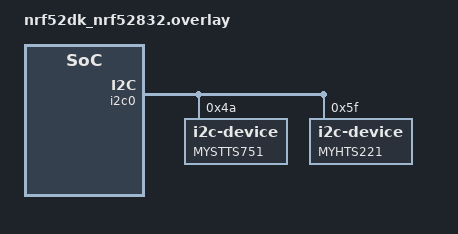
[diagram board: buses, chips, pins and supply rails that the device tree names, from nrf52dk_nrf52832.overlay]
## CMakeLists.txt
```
# SPDX-License-Identifier: Apache-2.0

cmake_minimum_required(VERSION 3.20.0)

find_package(Zephyr REQUIRED HINTS $ENV{ZEPHYR_BASE})
project(hello_world)

target_sources(app PRIVATE src/ble_service_test.c)
```

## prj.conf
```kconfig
CONFIG_SMF=y
CONFIG_EVENTS=y
CONFIG_LOG=y
CONFIG_FPU=y
CONFIG_BT=y
CONFIG_BT_PERIPHERAL=y
CONFIG_BT_DEVICE_NAME="EDGE_NODE"
CONFIG_I2C=y
CONFIG_SENSOR=y
CONFIG_MAIN_STACK_SIZE=8192
```

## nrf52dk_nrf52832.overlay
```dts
// To get started, press Ctrl+Space to bring up the completion menu and view the available nodes.

// You can also use the buttons in the sidebar to perform actions on nodes.
// Actions currently available include:

// * Enabling / disabling the node
// * Adding the bus to a bus
// * Removing the node
// * Connecting ADC channels

// For more help, browse the DeviceTree documentation at https://docs.zephyrproject.org/latest/guides/dts/index.html
// You can also visit the nRF DeviceTree extension documentation at https://nrfconnect.github.io/vscode-nrf-connect/devicetree/nrfdevicetree.html
&i2c0 {
    my_stts751: my_stts751@4a{
        compatible = "i2c-device";
        reg = < 0x4a >;
        label = "MYSTTS751";
    };
    my_hts221: my_hts221@5F{
        compatible = "i2c-device";
        reg = < 0x5F >;
        label = "MYHTS221";
    };
};
```

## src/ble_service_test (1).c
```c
#include <zephyr/kernel.h>
#include <zephyr/device.h>
#include <zephyr/drivers/gpio.h>
#include <zephyr/smf.h>
#include <zephyr/logging/log.h>

#include <zephyr/bluetooth/bluetooth.h>
#include <zephyr/bluetooth/gap.h>
#include <zephyr/bluetooth/gatt.h>
#include <zephyr/bluetooth/uuid.h>
#include <zephyr/bluetooth/addr.h>
#include <zephyr/bluetooth/conn.h>

LOG_MODULE_REGISTER(ble_test, LOG_LEVEL_DBG);

/* HTS221 sensor functions and definitions */
/* Replace with the appropriate HTS221 sensor library functions */

// Function to read temperature and humidity from HTS221
void read_sensor_data(float* temperature, float* humidity) {
    // Replace with HTS221 sensor reading implementation
}

// Function to send sensor data to the cloud
void send_data_to_cloud(float temperature, float humidity) {
    // Replace with cloud communication logic
}

/** BEGIN BLE ADVERTISING / SCAN DATA **/

#define BT_UUID_SST_SVC_BYTES  BT_UUID_128_ENCODE(0x00001523, 0x1212, 0xefde, 0x1523, 0x785fdeadbeef)
#define BT_UUID_SST_SVC  BT_UUID_DECLARE_128(BT_UUID_SST_SVC_BYTES)

static struct bt_le_adv_param* adv_param = BT_LE_ADV_PARAM(
    (BT_LE_ADV_OPT_CONNECTABLE|BT_LE_ADV_OPT_USE_IDENTITY), /* Connectable advertising and use identity address */
    800, /*Min Advertising Interval 500ms (800*0.625ms) */
    801, /*Max Advertising Interval 500.625ms (801*0.625ms)*/
    NULL); /* Set to NULL for undirected advertising*/

static const struct bt_data adv_data[] = {
    /* STEP 3.1 - Set the flags and populate the device name in the advertising packet */
    BT_DATA_BYTES(BT_DATA_FLAGS, (BT_LE_AD_GENERAL | BT_LE_AD_NO_BREDR)),
    BT_DATA(BT_DATA_NAME_COMPLETE, CONFIG_BT_DEVICE_NAME, (sizeof(CONFIG_BT_DEVICE_NAME) - 1)),
};

static const struct bt_data scan_data[] = {
    /* STEP 3.2.2 - Include the 16-bytes (128-Bits) UUID of our service in the scan response packet */
    BT_DATA_BYTES(BT_DATA_UUID128_ALL, BT_UUID_SST_SVC_BYTES),
};

/** END BLE ADVERTISING / SCAN DATA **/


/** BEGIN DEFINING BLE GATT SST (SENSOR STREAMING) SERVICE **/

#define BT_UUID_SST_MYSENSOR  BT_UUID_DECLARE_128(BT_UUID_128_ENCODE(0x00001526, 0x1212, 0xefde, 0x1523, 0x785fdeadbeef))

static bool notify_mysensor_enabled;
/// @brief Define the configuration change callback function for the MYSENSOR characteristic
static void sst_ccc_mysensor_cfg_changed(const struct bt_gatt_attr *attr, uint16_t value)
{
    notify_mysensor_enabled = (value == BT_GATT_CCC_NOTIFY);
}

BT_GATT_SERVICE_DEFINE(
    sst_service,
    BT_GATT_PRIMARY_SERVICE(BT_UUID_SST_SVC),
    BT_GATT_CHARACTERISTIC(
        BT_UUID_SST_MYSENSOR,
        BT_GATT_CHRC_NOTIFY,
        BT_GATT_PERM_NONE, 
        NULL, 
        NULL,
        NULL),
    BT_GATT_CCC(
        sst_ccc_mysensor_cfg_changed,
        BT_GATT_PERM_READ | BT_GATT_PERM_WRITE),
);

int my_sst_svc_gatt_notify(float temperature, float humidity)
{
    int err;
    if (!notify_mysensor_enabled) {
        return -EACCES;
    }
    struct {
        float temperature;
        float humidity;
    } sensor_data = {
        .temperature = temperature,
        .humidity = humidity
    };
    err = bt_gatt_notify(NULL, &sst_service.attrs[2], &sensor_data, sizeof(sensor_data));
    if (err < 0) {
        LOG_ERR("Warning: bt_gatt_notify failed with error: %d", err);
    }
    else {
        LOG_DBG("Sent sensor data: temperature=%f, humidity=%f", temperature, humidity);
    }
    return err;
}

/** END DEFINING BLE GATT SST (SENSOR STREAMING) SERVICE **/


/** BEGIN DEFINING BLE CONNECTION MANAGER */

struct bt_conn* our_conn = NULL;

void on_connected(struct bt_conn *conn, uint8_t err) {
    if (err) {
        LOG_ERR("Connection error %d", err);
        return;
    }
    LOG_INF("Connected");
    our_conn = bt_conn_ref(conn);
}

void on_disconnected(struct bt_conn *conn, uint8_t reason)
{
    LOG_INF("Disconnected. Reason %d", reason);
    bt_conn_unref(our_conn);
}

struct bt_conn_cb bt_conn_callbacks = {
    .connected = on_connected,
    .disconnected = on_disconnected,
};

/** END DEFINING BLE CONNECTION MANAGER **/


void main(void) {
    int err;
    float temperature, humidity;
    LOG_INF("Setting up our bluetooth...");

    bt_addr_le_t addr;
    err = bt_addr_le_from_str("FF:EE:DE:AD:BE:EF", "random", &addr);
    if (err) {
        LOG_ERR("Invalid BT address (err %d)\n", err);
        return;
    }

    err = bt_id_create(&addr, NULL);
    if (err < 0) {
        LOG_ERR("Creating new identity failed (err %d)\n", err);
        return;
    }

    bt_conn_cb_register(&bt_conn_callbacks);

    err = bt_enable(NULL);
    if (err < 0) {
        LOG_ERR("Bluetooth init failed (err %d)\n", err);
        return;
    }

    LOG_INF("Bluetooth enabled!");
    LOG_INF("Starting advertising...");

    err = bt_le_adv_start(
        adv_param, adv_data, ARRAY_SIZE(adv_data),
        scan_data, ARRAY_SIZE(scan_data));
    if (err < 0) {
        LOG_ERR("Bluetooth advertisement start failed (err %d)\n", err);
        return;
    }

    LOG_INF("Advertising started!");

    // Predefined values for temperature and humidity
    float predefined_temperature[] = {25.5, 26.0, 26.2, 25.8, 26.5, 25.7, 25.9, 26.3, 26.1, 25.6};
    float predefined_humidity[] = {45.8, 46.2, 47.1, 45.5, 46.8, 45.9, 46.4, 46.6, 47.3, 45.7};

    int num_values = sizeof(predefined_temperature) / sizeof(float);
    int i = 0;

    while (true) {
        // Read sensor data
        temperature = predefined_temperature[i];
        humidity = predefined_humidity[i];

        // Send data to the cloud
        send_data_to_cloud(temperature, humidity);

        // Notify GATT clients with sensor data
        my_sst_svc_gatt_notify(temperature, humidity);

        i++;
        if (i >= num_values) {
            i = 0;
        }

        k_sleep(K_SECONDS(1));
    }
}
```
